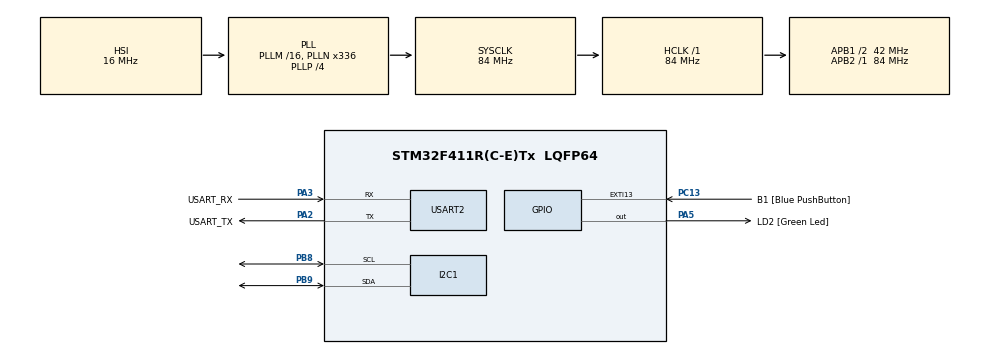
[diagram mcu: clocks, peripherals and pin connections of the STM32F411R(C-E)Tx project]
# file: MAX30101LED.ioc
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Dma.I2C1_RX.0.Direction=DMA_PERIPH_TO_MEMORY
Dma.I2C1_RX.0.FIFOMode=DMA_FIFOMODE_DISABLE
Dma.I2C1_RX.0.Instance=DMA1_Stream0
Dma.I2C1_RX.0.MemDataAlignment=DMA_MDATAALIGN_BYTE
Dma.I2C1_RX.0.MemInc=DMA_MINC_ENABLE
Dma.I2C1_RX.0.Mode=DMA_NORMAL
Dma.I2C1_RX.0.PeriphDataAlignment=DMA_PDATAALIGN_BYTE
Dma.I2C1_RX.0.PeriphInc=DMA_PINC_DISABLE
Dma.I2C1_RX.0.Priority=DMA_PRIORITY_LOW
Dma.I2C1_TX.1.Direction=DMA_MEMORY_TO_PERIPH
Dma.I2C1_TX.1.FIFOMode=DMA_FIFOMODE_DISABLE
Dma.I2C1_TX.1.Instance=DMA1_Stream1
Dma.I2C1_TX.1.MemDataAlignment=DMA_MDATAALIGN_BYTE
Dma.I2C1_TX.1.MemInc=DMA_MINC_ENABLE
Dma.I2C1_TX.1.Mode=DMA_NORMAL
Dma.I2C1_TX.1.PeriphDataAlignment=DMA_PDATAALIGN_BYTE
Dma.I2C1_TX.1.PeriphInc=DMA_PINC_DISABLE
Dma.I2C1_TX.1.Priority=DMA_PRIORITY_LOW
Dma.Request0=I2C1_RX
Dma.Request1=I2C1_TX
Mcu.Family=STM32F4
Mcu.Name=STM32F411R(C-E)Tx
Mcu.Package=LQFP64
NVIC.DMA1_Stream0_IRQn=true\:0\:0\:false\:false\:true\:false\:true\:true
NVIC.DMA1_Stream1_IRQn=true\:0\:0\:false\:false\:true\:false\:true\:true
NVIC.I2C1_ER_IRQn=true\:0\:0\:false\:false\:true\:true\:true\:true
NVIC.I2C1_EV_IRQn=true\:0\:0\:false\:false\:true\:true\:true\:true
NVIC.PriorityGroup=NVIC_PRIORITYGROUP_0
PA13.GPIO_Label=TMS
PA13.Mode=Serial_Wire
PA13.Signal=SYS_JTMS-SWDIO
PA14.GPIO_Label=TCK
PA14.Mode=Serial_Wire
PA14.Signal=SYS_JTCK-SWCLK
PA2.GPIO_Label=USART_TX
PA2.Mode=Asynchronous
PA2.Signal=USART2_TX
PA3.GPIO_Label=USART_RX
PA3.Mode=Asynchronous
PA3.Signal=USART2_RX
PA5.GPIO_Label=LD2 [Green Led]
PA5.Signal=GPIO_Output
PB3.GPIO_Label=SWO
PB3.Signal=SYS_JTDO-SWO
PB8.GPIO_Pu=GPIO_PULLUP
PB8.Mode=I2C
PB8.Signal=I2C1_SCL
PB9.GPIO_Pu=GPIO_PULLUP
PB9.Mode=I2C
PB9.Signal=I2C1_SDA
PC13-ANTI_TAMP.GPIO_Label=B1 [Blue PushButton]
PC13-ANTI_TAMP.GPIO_ModeDefaultEXTI=GPIO_MODE_IT_FALLING
PC13-ANTI_TAMP.Signal=GPXTI13
PC14-OSC32_IN.Mode=LSE-External-Oscillator
PC14-OSC32_IN.Signal=RCC_OSC32_IN
PC15-OSC32_OUT.Mode=LSE-External-Oscillator
PC15-OSC32_OUT.Signal=RCC_OSC32_OUT
PH0\ -\ OSC_IN.Mode=HSE-External-Clock-Source
PH0\ -\ OSC_IN.Signal=RCC_OSC_IN
PH1\ -\ OSC_OUT.Mode=HSE-External-Clock-Source
PH1\ -\ OSC_OUT.Signal=RCC_OSC_OUT
ProjectManager.HeapSize=0x200
ProjectManager.StackSize=0x400
ProjectManager.TargetToolchain=STM32CubeIDE
RCC.48MHZClocksFreq_Value=84000000
RCC.AHBFreq_Value=84000000
RCC.APB1CLKDivider=RCC_HCLK_DIV2
RCC.APB1Freq_Value=42000000
RCC.APB1TimFreq_Value=84000000
RCC.APB2Freq_Value=84000000
RCC.APB2TimFreq_Value=84000000
RCC.CortexFreq_Value=84000000
RCC.FLatency-AdvancedSettings=FLASH_LATENCY_2
RCC.HCLKFreq_Value=84000000
RCC.HSE_VALUE=8000000
RCC.HSI_VALUE=16000000
RCC.PLLN=336
RCC.PLLP=RCC_PLLP_DIV4
RCC.SYSCLKFreq_VALUE=84000000
RCC.SYSCLKSource=RCC_SYSCLKSOURCE_PLLCLK
RCC.VCOOutputFreq_Value=336000000
USART2.VirtualMode=VM_ASYNC
board=NUCLEO-F411RE

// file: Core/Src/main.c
/* USER CODE BEGIN Header */
/**
  ******************************************************************************
  * @file           : main.c
  * @brief          : Main program body
  ******************************************************************************
  * @attention
  *
  * Copyright (c) 2024 STMicroelectronics.
  * All rights reserved.
  *
  * This software is licensed under terms that can be found in the LICENSE file
  * in the root directory of this software component.
  * If no LICENSE file comes with this software, it is provided AS-IS.
  *
  ******************************************************************************
  */
/* USER CODE END Header */
#include "main.h"

/* USER CODE BEGIN PD */
#define MAX30101_ADDR 0b10101110
#define  FIFO_WR_PTR 0x04
/* USER CODE END PD */

I2C_HandleTypeDef hi2c1;
DMA_HandleTypeDef hdma_i2c1_rx;
DMA_HandleTypeDef hdma_i2c1_tx;

UART_HandleTypeDef huart2;

/* USER CODE BEGIN PV */
HAL_StatusTypeDef i2c_status;
uint8_t FIFOWP[5];
uint8_t FIFORP[5];
uint8_t FIFOData[6];
/* USER CODE END PV */

void SystemClock_Config(void);
static void MX_GPIO_Init(void);
static void MX_DMA_Init(void);
static void MX_USART2_UART_Init(void);
static void MX_I2C1_Init(void);

int main(void)
{

  /* MCU Configuration--------------------------------------------------------*/

  /* Reset of all peripherals, Initializes the Flash interface and the Systick. */
  HAL_Init();

  /* Configure the system clock */
  SystemClock_Config();

  /* Initialize all configured peripherals */
  MX_GPIO_Init();
  MX_DMA_Init();
  MX_USART2_UART_Init();
  MX_I2C1_Init();
  /* USER CODE BEGIN 2 */
//  if(i2c_status == HAL_OK){
// 	  //Mode configuration
// 	  uint8_t Data[1] = {0b00000111};
// 	  HAL_I2C_Mem_Write(&hi2c1, 0b10101110, 0x09, I2C_MEMADD_SIZE_8BIT, Data, 1,100);
//   }
//
//   else if(i2c_status == HAL_OK){
// 	  //LED Pulse
// 	  uint8_t DataLED[1] = {0xFF};
// 	  HAL_I2C_Mem_Write(&hi2c1, 0b10101110, 0x0C, I2C_MEMADD_SIZE_8BIT, DataLED, 1,100);
// 	  HAL_I2C_Mem_Write(&hi2c1, 0b10101110, 0x0D, I2C_MEMADD_SIZE_8BIT, DataLED, 1,100);
// 	  HAL_I2C_Mem_Write(&hi2c1, 0b10101110, 0x0E, I2C_MEMADD_SIZE_8BIT, DataLED, 1,100);
// 	  HAL_I2C_Mem_Write(&hi2c1, 0b10101110, 0x0F, I2C_MEMADD_SIZE_8BIT, DataLED, 1,100);
//   }
//
//   else if(i2c_status == HAL_OK){
// 	  //Open LED-+
// 	  uint8_t DataMultiLED[1] = {0b00010011};
// 	  HAL_I2C_Mem_Write(&hi2c1, 0b10101110, 0x11, I2C_MEMADD_SIZE_8BIT, DataMultiLED, 1,100);
//   }

  //into Mode
  uint8_t DataMode[1] = {0x02};
  HAL_I2C_Mem_Write(&hi2c1, MAX30101_ADDR, 0x09, I2C_MEMADD_SIZE_8BIT, DataMode, 1, 100);

   //Mode configuration
   uint8_t Data[1] = {0b00000111};
   HAL_I2C_Mem_Write(&hi2c1, 0b10101110, 0x09, I2C_MEMADD_SIZE_8BIT, Data, 1,100);

   //LED Pulse
   uint8_t DataLED[1] = {0xFF};
   HAL_I2C_Mem_Write(&hi2c1, 0b10101110, 0x0C, I2C_MEMADD_SIZE_8BIT, DataLED, 1,100);
   HAL_I2C_Mem_Write(&hi2c1, 0b10101110, 0x0D, I2C_MEMADD_SIZE_8BIT, DataLED, 1,100);
   HAL_I2C_Mem_Write(&hi2c1, 0b10101110, 0x0E, I2C_MEMADD_SIZE_8BIT, DataLED, 1,100);
   HAL_I2C_Mem_Write(&hi2c1, 0b10101110, 0x0F, I2C_MEMADD_SIZE_8BIT, DataLED, 1,100);

   //Open LED-+
   uint8_t DataMultiLED[1] = {0b00010011};
   HAL_I2C_Mem_Write(&hi2c1, 0b10101110, 0x11, I2C_MEMADD_SIZE_8BIT, DataMultiLED, 1,100);

   //FIFO Configuration
   //Set sample average
   uint8_t DataFIFOConf[1] = {0b01011111};
   HAL_I2C_Mem_Write(&hi2c1, MAX30101_ADDR,0x08, I2C_MEMADD_SIZE_8BIT, DataFIFOConf, 1,100);

//   //Enable roll over if FIFO over flows
//   uint8_t DataFIFOEn[1] = {0b11111111};
//   HAL_I2C_Mem_Write(&hi2c1, MAX30101_ADDR, 0x08, I2C_MEMADD_SIZE_8BIT, DataFIFOEn, 1,100);

//Read FIFO

   //Read the FIFO Write Pointer
//   HAL_I2C_Mem_Read(&hi2c1, MAX30101_ADDR, 0x04, I2C_MEMADD_SIZE_8BIT, FIFOWP, 4, 100);
   HAL_I2C_Master_Transmit(&hi2c1, MAX30101_ADDR, 0x04, 1, 1000);
   HAL_I2C_Master_Receive(&hi2c1, MAX30101_ADDR, FIFOWP, 4, 1000);

   //Read the FIFO Read Pointer
//   HAL_I2C_Mem_Read(&hi2c1, MAX30101_ADDR, 0x06, I2C_MEMADD_SIZE_8BIT, pData, Size, 100);
   HAL_I2C_Master_Transmit(&hi2c1, MAX30101_ADDR, 0x06, 1, 1000);
   HAL_I2C_Master_Receive(&hi2c1, MAX30101_ADDR, FIFORP, 4, 1000);

   int8_t num_samples;
   num_samples = FIFOWP - FIFORP;
   if (num_samples < 1)
   {
	   num_samples += 32;
   }
   for (int8_t i = 0; i < num_samples; i++){
	   uint8_t sample[6];
	   HAL_I2C_Master_Transmit(&hi2c1, MAX30101_ADDR, 0x07, 1, 1000);
	   HAL_I2C_Master_Receive(&hi2c1, MAX30101_ADDR, FIFOData, 6, 1000);
   }

  /* USER CODE END 2 */

  /* Infinite loop */
  while (1)
  {

	  /* USER CODE BEGIN 3 */
//	  OpenLED();
  }
  /* USER CODE END 3 */
}

void SystemClock_Config(void)
{
  RCC_OscInitTypeDef RCC_OscInitStruct = {0};
  RCC_ClkInitTypeDef RCC_ClkInitStruct = {0};

  /** Configure the main internal regulator output voltage
  */
  __HAL_RCC_PWR_CLK_ENABLE();
  __HAL_PWR_VOLTAGESCALING_CONFIG(PWR_REGULATOR_VOLTAGE_SCALE1);

  /** Initializes the RCC Oscillators according to the specified parameters
  * in the RCC_OscInitTypeDef structure.
  */
  RCC_OscInitStruct.OscillatorType = RCC_OSCILLATORTYPE_HSI;
  RCC_OscInitStruct.HSIState = RCC_HSI_ON;
  RCC_OscInitStruct.HSICalibrationValue = RCC_HSICALIBRATION_DEFAULT;
  RCC_OscInitStruct.PLL.PLLState = RCC_PLL_ON;
  RCC_OscInitStruct.PLL.PLLSource = RCC_PLLSOURCE_HSI;
  RCC_OscInitStruct.PLL.PLLM = 16;
  RCC_OscInitStruct.PLL.PLLN = 336;
  RCC_OscInitStruct.PLL.PLLP = RCC_PLLP_DIV4;
  RCC_OscInitStruct.PLL.PLLQ = 4;
  if (HAL_RCC_OscConfig(&RCC_OscInitStruct) != HAL_OK)
  {
    Error_Handler();
  }

  /** Initializes the CPU, AHB and APB buses clocks
  */
  RCC_ClkInitStruct.ClockType = RCC_CLOCKTYPE_HCLK|RCC_CLOCKTYPE_SYSCLK
                              |RCC_CLOCKTYPE_PCLK1|RCC_CLOCKTYPE_PCLK2;
  RCC_ClkInitStruct.SYSCLKSource = RCC_SYSCLKSOURCE_PLLCLK;
  RCC_ClkInitStruct.AHBCLKDivider = RCC_SYSCLK_DIV1;
  RCC_ClkInitStruct.APB1CLKDivider = RCC_HCLK_DIV2;
  RCC_ClkInitStruct.APB2CLKDivider = RCC_HCLK_DIV1;

  if (HAL_RCC_ClockConfig(&RCC_ClkInitStruct, FLASH_LATENCY_2) != HAL_OK)
  {
    Error_Handler();
  }
}

static void MX_I2C1_Init(void)
{

  hi2c1.Instance = I2C1;
  hi2c1.Init.ClockSpeed = 100000;
  hi2c1.Init.DutyCycle = I2C_DUTYCYCLE_2;
  hi2c1.Init.OwnAddress1 = 0;
  hi2c1.Init.AddressingMode = I2C_ADDRESSINGMODE_7BIT;
  hi2c1.Init.DualAddressMode = I2C_DUALADDRESS_DISABLE;
  hi2c1.Init.OwnAddress2 = 0;
  hi2c1.Init.GeneralCallMode = I2C_GENERALCALL_DISABLE;
  hi2c1.Init.NoStretchMode = I2C_NOSTRETCH_DISABLE;
  if (HAL_I2C_Init(&hi2c1) != HAL_OK)
  {
    Error_Handler();
  }

}

static void MX_USART2_UART_Init(void)
{

  huart2.Instance = USART2;
  huart2.Init.BaudRate = 115200;
  huart2.Init.WordLength = UART_WORDLENGTH_8B;
  huart2.Init.StopBits = UART_STOPBITS_1;
  huart2.Init.Parity = UART_PARITY_NONE;
  huart2.Init.Mode = UART_MODE_TX_RX;
  huart2.Init.HwFlowCtl = UART_HWCONTROL_NONE;
  huart2.Init.OverSampling = UART_OVERSAMPLING_16;
  if (HAL_UART_Init(&huart2) != HAL_OK)
  {
    Error_Handler();
  }

}

static void MX_DMA_Init(void)
{

  /* DMA controller clock enable */
  __HAL_RCC_DMA1_CLK_ENABLE();

  /* DMA interrupt init */
  /* DMA1_Stream0_IRQn interrupt configuration */
  HAL_NVIC_SetPriority(DMA1_Stream0_IRQn, 0, 0);
  HAL_NVIC_EnableIRQ(DMA1_Stream0_IRQn);
  /* DMA1_Stream1_IRQn interrupt configuration */
  HAL_NVIC_SetPriority(DMA1_Stream1_IRQn, 0, 0);
  HAL_NVIC_EnableIRQ(DMA1_Stream1_IRQn);

}

static void MX_GPIO_Init(void)
{
  GPIO_InitTypeDef GPIO_InitStruct = {0};

  /* GPIO Ports Clock Enable */
  __HAL_RCC_GPIOC_CLK_ENABLE();
  __HAL_RCC_GPIOH_CLK_ENABLE();
  __HAL_RCC_GPIOA_CLK_ENABLE();
  __HAL_RCC_GPIOB_CLK_ENABLE();

  /*Configure GPIO pin Output Level */
  HAL_GPIO_WritePin(LD2_GPIO_Port, LD2_Pin, GPIO_PIN_RESET);

  /*Configure GPIO pin : B1_Pin */
  GPIO_InitStruct.Pin = B1_Pin;
  GPIO_InitStruct.Mode = GPIO_MODE_IT_FALLING;
  GPIO_InitStruct.Pull = GPIO_NOPULL;
  HAL_GPIO_Init(B1_GPIO_Port, &GPIO_InitStruct);

  /*Configure GPIO pin : LD2_Pin */
  GPIO_InitStruct.Pin = LD2_Pin;
  GPIO_InitStruct.Mode = GPIO_MODE_OUTPUT_PP;
  GPIO_InitStruct.Pull = GPIO_NOPULL;
  GPIO_InitStruct.Speed = GPIO_SPEED_FREQ_LOW;
  HAL_GPIO_Init(LD2_GPIO_Port, &GPIO_InitStruct);

}

/* USER CODE BEGIN 4 */
void OpenLED(){
	if(i2c_status == HAL_OK){
		//Mode configuration
		uint8_t Data[1] = {0b00000111};
		HAL_I2C_Mem_Write(&hi2c1, 0b10101110, 0x09, I2C_MEMADD_SIZE_8BIT, Data, 1,100);
	}

	else if(i2c_status == HAL_OK){
		//LED Pulse
		uint8_t DataLED[1] = {0xFF};
		HAL_I2C_Mem_Write(&hi2c1, 0b10101110, 0x0C, I2C_MEMADD_SIZE_8BIT, DataLED, 1,100);
		HAL_I2C_Mem_Write(&hi2c1, 0b10101110, 0x0D, I2C_MEMADD_SIZE_8BIT, DataLED, 1,100);
		HAL_I2C_Mem_Write(&hi2c1, 0b10101110, 0x0E, I2C_MEMADD_SIZE_8BIT, DataLED, 1,100);
		HAL_I2C_Mem_Write(&hi2c1, 0b10101110, 0x0F, I2C_MEMADD_SIZE_8BIT, DataLED, 1,100);
	}

	else if(i2c_status == HAL_OK){
		//Open LED-+
		uint8_t DataMultiLED[1] = {0b00010011};
		HAL_I2C_Mem_Write(&hi2c1, 0b10101110, 0x11, I2C_MEMADD_SIZE_8BIT, DataMultiLED, 1,100);
	}
}

/* USER CODE END 4 */

void Error_Handler(void)
{
  __disable_irq();
  while (1)
  {
  }
}
